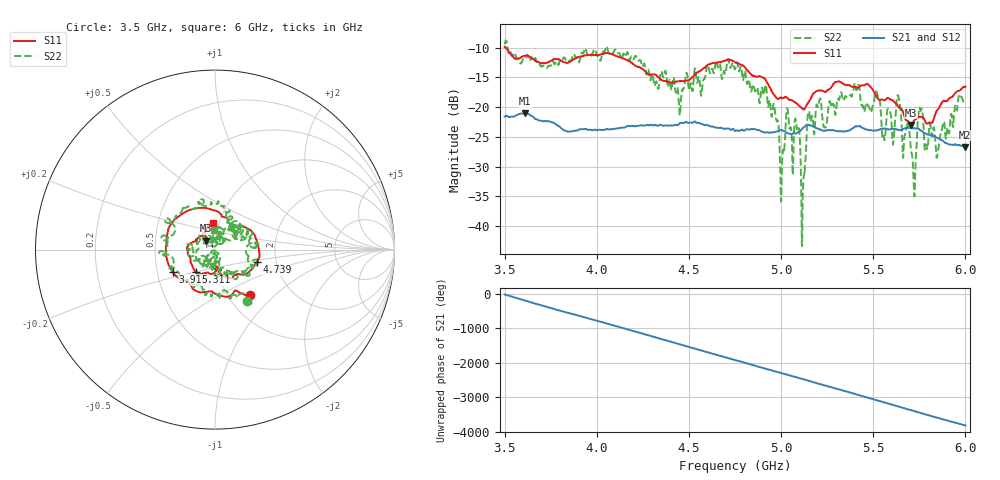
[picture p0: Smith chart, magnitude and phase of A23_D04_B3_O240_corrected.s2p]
! Created with skrf 1.9.0 (http://scikit-rf.org).
# Hz S RI R 50.0
!freq ReS11 ImS11 ReS21 ImS21 ReS12 ImS12 ReS22 ImS22
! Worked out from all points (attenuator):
!   1601 points, 3.5 GHz to 6 GHz, reference 50 ohm
!   highest |S21| = -21.05 dB at 3.609 GHz (marker M1); lowest = -26.7 dB at 5.995 GHz (marker M2)
!   lowest |S11| = -23.0 dB at 5.706 GHz (marker M3), VSWR 1.15, Z = 45.1 + j4.57 ohm
!   |S11| at or under -10 dB: 3.505 GHz to end of sweep
!   |S22| runs from -43.3 to -8.8 dB; largest |S21 - S12| = 0.0011
!   S11 on the Smith chart (normalised r, x): 3.5 GHz: 1.26, -0.71; 3.916 GHz: 0.60, -0.16; 4.739 GHz: 1.59, -0.24; 5.311 GHz: 0.79, -0.20; 6 GHz: 0.94, +0.28
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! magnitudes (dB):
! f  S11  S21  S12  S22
! 3.5 GHz  -9.9  -21.6  -21.6  -9.4
! 3.609 GHz  -11.3  -21.0  -21.1  -11.7
! 3.916 GHz  -11.5  -23.7  -23.7  -11.0
! 3.917 GHz  -11.5  -23.7  -23.7  -10.9
! 4.334 GHz  -15.0  -23.1  -23.0  -16.9
! 4.739 GHz  -12.2  -23.6  -23.7  -12.5
! 4.75 GHz  -12.5  -24.0  -23.9  -13.7
! 4.911 GHz  -15.2  -24.3  -24.2  -17.0
! 5.005 GHz  -18.4  -23.9  -23.9  -30.1
! 5.034 GHz  -18.5  -24.4  -24.3  -20.3
! 5.086 GHz  -19.4  -24.4  -24.3  -23.7
! 5.119 GHz  -20.3  -23.5  -23.4  -33.7
! 5.167 GHz  -18.1  -23.1  -23.1  -21.5
! 5.311 GHz  -15.7  -24.1  -24.0  -18.8
! 5.584 GHz  -18.5  -23.7  -23.7  -20.4
! 5.638 GHz  -19.9  -23.8  -23.8  -18.3
! 5.706 GHz  -23.0  -23.5  -23.5  -27.6
! 5.725 GHz  -22.1  -23.5  -23.5  -34.2
! 5.756 GHz  -21.6  -23.9  -23.8  -20.6
! 5.848 GHz  -20.5  -25.2  -25.1  -27.9
! 5.995 GHz  -16.6  -26.7  -26.6  -19.3
! 6 GHz  -16.6  -26.7  -26.6  -19.2
